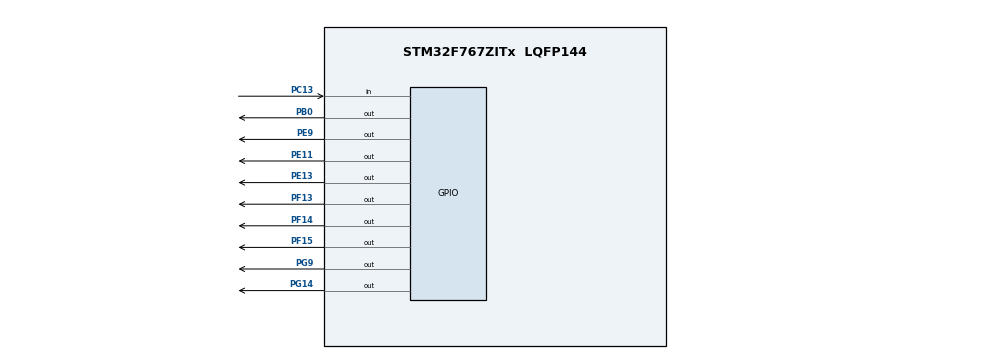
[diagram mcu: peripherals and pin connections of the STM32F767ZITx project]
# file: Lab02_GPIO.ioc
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CORTEX_M7.default_mode_Activation=1
Mcu.Family=STM32F7
Mcu.Name=STM32F767ZITx
Mcu.Package=LQFP144
NVIC.PriorityGroup=NVIC_PRIORITYGROUP_4
PB0.Signal=GPIO_Output
PC13.Signal=GPIO_Input
PE11.Signal=GPIO_Output
PE13.Signal=GPIO_Output
PE9.Signal=GPIO_Output
PF13.Signal=GPIO_Output
PF14.Signal=GPIO_Output
PF15.Signal=GPIO_Output
PG14.Signal=GPIO_Output
PG9.Signal=GPIO_Output
ProjectManager.HeapSize=0x200
ProjectManager.StackSize=0x400
ProjectManager.TargetToolchain=STM32CubeIDE
RCC.HSE_VALUE=25000000
RCC.HSI_VALUE=16000000
RCC.LSE_VALUE=32768
RCC.USBFreq_Value=96000000
RCC.VCOOutputFreq_Value=192000000
board=custom

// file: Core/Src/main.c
/* USER CODE BEGIN Header */
/**
  ******************************************************************************
  * @file           : main.c
  * @brief          : Main program body
  ******************************************************************************
  * @attention
  *
  * Copyright (c) 2026 STMicroelectronics.
  * All rights reserved.
  *
  * This software is licensed under terms that can be found in the LICENSE file
  * in the root directory of this software component.
  * If no LICENSE file comes with this software, it is provided AS-IS.
  *
  ******************************************************************************
  */
/* USER CODE END Header */
#include "main.h"

void SystemClock_Config(void);
static void MPU_Config(void);
static void MX_GPIO_Init(void);

int main(void)
{

  /* MPU Configuration--------------------------------------------------------*/
  MPU_Config();

  /* MCU Configuration--------------------------------------------------------*/

  /* Reset of all peripherals, Initializes the Flash interface and the Systick. */
  HAL_Init();

  /* Configure the system clock */
  SystemClock_Config();

  /* Initialize all configured peripherals */
  MX_GPIO_Init();
  /* USER CODE BEGIN 2 */
  // LED pin arrays (D0–D7)
  	  uint16_t led_pins[8] = {
  	      GPIO_PIN_9,   // PG9   -> D0
  	      GPIO_PIN_14,  // PG14  -> D1
  	      GPIO_PIN_15,  // PF15  -> D2
  	      GPIO_PIN_13,  // PE13  -> D3
  	      GPIO_PIN_14,  // PF14  -> D4
  	      GPIO_PIN_11,  // PE11  -> D5
  	      GPIO_PIN_9,   // PE9   -> D6
  	      GPIO_PIN_13   // PF13  -> D7
  	  };

  	  GPIO_TypeDef* led_ports[8] = {
  	      GPIOG, // D0
  	      GPIOG, // D1
  	      GPIOF, // D2
  	      GPIOE, // D3
  	      GPIOF, // D4
  	      GPIOE, // D5
  	      GPIOE, // D6
  	      GPIOF  // D7
  	  };

  	  int current_led = -1; // start with all OFF

  /* USER CODE END 2 */

  /* Infinite loop */
  while (1)
  {

    /* USER CODE BEGIN 3 */

	  if (HAL_GPIO_ReadPin(GPIOC, GPIO_PIN_13) == GPIO_PIN_RESET)
	  {
	      HAL_Delay(200); // debounce

	      // turn OFF current LED
	      if (current_led >= 0)
	      {
	          HAL_GPIO_WritePin(led_ports[current_led], led_pins[current_led], GPIO_PIN_RESET);
	      }

	      // move to next LED
	      current_led++;
	      if (current_led > 7)
	          current_led = 0;

	      // turn ON next LED
	      HAL_GPIO_WritePin(led_ports[current_led], led_pins[current_led], GPIO_PIN_SET);

	      // wait until button released (important!)
	      while (HAL_GPIO_ReadPin(GPIOC, GPIO_PIN_13) == GPIO_PIN_RESET);

	      HAL_Delay(50); // extra debounce
	  }
  }
  /* USER CODE END 3 */
}

void SystemClock_Config(void)
{
  RCC_OscInitTypeDef RCC_OscInitStruct = {0};
  RCC_ClkInitTypeDef RCC_ClkInitStruct = {0};

  /** Configure the main internal regulator output voltage
  */
  __HAL_RCC_PWR_CLK_ENABLE();
  __HAL_PWR_VOLTAGESCALING_CONFIG(PWR_REGULATOR_VOLTAGE_SCALE3);

  /** Initializes the RCC Oscillators according to the specified parameters
  * in the RCC_OscInitTypeDef structure.
  */
  RCC_OscInitStruct.OscillatorType = RCC_OSCILLATORTYPE_HSI;
  RCC_OscInitStruct.HSIState = RCC_HSI_ON;
  RCC_OscInitStruct.HSICalibrationValue = RCC_HSICALIBRATION_DEFAULT;
  RCC_OscInitStruct.PLL.PLLState = RCC_PLL_NONE;
  if (HAL_RCC_OscConfig(&RCC_OscInitStruct) != HAL_OK)
  {
    Error_Handler();
  }

  /** Initializes the CPU, AHB and APB buses clocks
  */
  RCC_ClkInitStruct.ClockType = RCC_CLOCKTYPE_HCLK|RCC_CLOCKTYPE_SYSCLK
                              |RCC_CLOCKTYPE_PCLK1|RCC_CLOCKTYPE_PCLK2;
  RCC_ClkInitStruct.SYSCLKSource = RCC_SYSCLKSOURCE_HSI;
  RCC_ClkInitStruct.AHBCLKDivider = RCC_SYSCLK_DIV1;
  RCC_ClkInitStruct.APB1CLKDivider = RCC_HCLK_DIV1;
  RCC_ClkInitStruct.APB2CLKDivider = RCC_HCLK_DIV1;

  if (HAL_RCC_ClockConfig(&RCC_ClkInitStruct, FLASH_LATENCY_0) != HAL_OK)
  {
    Error_Handler();
  }
}

static void MX_GPIO_Init(void)
{
  GPIO_InitTypeDef GPIO_InitStruct = {0};

  /* GPIO Ports Clock Enable */
  __HAL_RCC_GPIOC_CLK_ENABLE();
  __HAL_RCC_GPIOB_CLK_ENABLE();
  __HAL_RCC_GPIOF_CLK_ENABLE();
  __HAL_RCC_GPIOE_CLK_ENABLE();
  __HAL_RCC_GPIOG_CLK_ENABLE();

  /*Configure GPIO pin Output Level */
  HAL_GPIO_WritePin(GPIOB, GPIO_PIN_0, GPIO_PIN_RESET);

  /*Configure GPIO pin Output Level */
  HAL_GPIO_WritePin(GPIOF, GPIO_PIN_13|GPIO_PIN_14|GPIO_PIN_15, GPIO_PIN_RESET);

  /*Configure GPIO pin Output Level */
  HAL_GPIO_WritePin(GPIOE, GPIO_PIN_9|GPIO_PIN_11|GPIO_PIN_13, GPIO_PIN_RESET);

  /*Configure GPIO pin Output Level */
  HAL_GPIO_WritePin(GPIOG, GPIO_PIN_9|GPIO_PIN_14, GPIO_PIN_RESET);

  /*Configure GPIO pin : PC13 */
  GPIO_InitStruct.Pin = GPIO_PIN_13;
  GPIO_InitStruct.Mode = GPIO_MODE_INPUT;
  GPIO_InitStruct.Pull = GPIO_NOPULL;
  HAL_GPIO_Init(GPIOC, &GPIO_InitStruct);

  /*Configure GPIO pin : PB0 */
  GPIO_InitStruct.Pin = GPIO_PIN_0;
  GPIO_InitStruct.Mode = GPIO_MODE_OUTPUT_PP;
  GPIO_InitStruct.Pull = GPIO_NOPULL;
  GPIO_InitStruct.Speed = GPIO_SPEED_FREQ_LOW;
  HAL_GPIO_Init(GPIOB, &GPIO_InitStruct);

  /*Configure GPIO pins : PF13 PF14 PF15 */
  GPIO_InitStruct.Pin = GPIO_PIN_13|GPIO_PIN_14|GPIO_PIN_15;
  GPIO_InitStruct.Mode = GPIO_MODE_OUTPUT_PP;
  GPIO_InitStruct.Pull = GPIO_NOPULL;
  GPIO_InitStruct.Speed = GPIO_SPEED_FREQ_LOW;
  HAL_GPIO_Init(GPIOF, &GPIO_InitStruct);

  /*Configure GPIO pins : PE9 PE11 PE13 */
  GPIO_InitStruct.Pin = GPIO_PIN_9|GPIO_PIN_11|GPIO_PIN_13;
  GPIO_InitStruct.Mode = GPIO_MODE_OUTPUT_PP;
  GPIO_InitStruct.Pull = GPIO_NOPULL;
  GPIO_InitStruct.Speed = GPIO_SPEED_FREQ_LOW;
  HAL_GPIO_Init(GPIOE, &GPIO_InitStruct);

  /*Configure GPIO pins : PG9 PG14 */
  GPIO_InitStruct.Pin = GPIO_PIN_9|GPIO_PIN_14;
  GPIO_InitStruct.Mode = GPIO_MODE_OUTPUT_PP;
  GPIO_InitStruct.Pull = GPIO_NOPULL;
  GPIO_InitStruct.Speed = GPIO_SPEED_FREQ_LOW;
  HAL_GPIO_Init(GPIOG, &GPIO_InitStruct);

}

 /* MPU Configuration */

void MPU_Config(void)
{
  MPU_Region_InitTypeDef MPU_InitStruct = {0};

  /* Disables the MPU */
  HAL_MPU_Disable();

  /** Initializes and configures the Region and the memory to be protected
  */
  MPU_InitStruct.Enable = MPU_REGION_ENABLE;
  MPU_InitStruct.Number = MPU_REGION_NUMBER0;
  MPU_InitStruct.BaseAddress = 0x0;
  MPU_InitStruct.Size = MPU_REGION_SIZE_4GB;
  MPU_InitStruct.SubRegionDisable = 0x87;
  MPU_InitStruct.TypeExtField = MPU_TEX_LEVEL0;
  MPU_InitStruct.AccessPermission = MPU_REGION_NO_ACCESS;
  MPU_InitStruct.DisableExec = MPU_INSTRUCTION_ACCESS_DISABLE;
  MPU_InitStruct.IsShareable = MPU_ACCESS_SHAREABLE;
  MPU_InitStruct.IsCacheable = MPU_ACCESS_NOT_CACHEABLE;
  MPU_InitStruct.IsBufferable = MPU_ACCESS_NOT_BUFFERABLE;

  HAL_MPU_ConfigRegion(&MPU_InitStruct);
  /* Enables the MPU */
  HAL_MPU_Enable(MPU_PRIVILEGED_DEFAULT);

}

void Error_Handler(void)
{
  __disable_irq();
  while (1)
  {
  }
}
